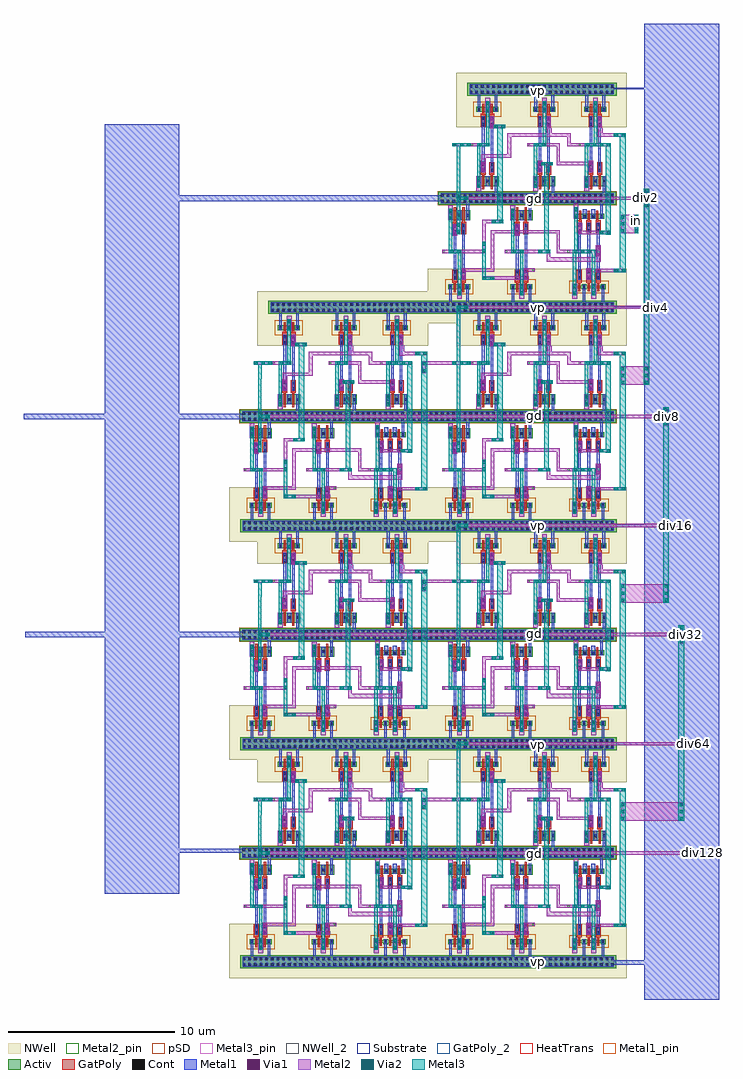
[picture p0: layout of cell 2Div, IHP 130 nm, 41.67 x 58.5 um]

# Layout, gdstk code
from math import pi, radians
import gdstk
lib = gdstk.Library(unit=1e-6, precision=1e-09)
def R(c, l, rs):  # rectangles x0, y0, x1, y1
    for r in rs: c.add(gdstk.rectangle(r[:2], r[2:], *l))
def A(c, l, x, y, w, h, nx, ny, dx, dy):  # array of equal rectangles
    R(c, l, [(x+i*dx, y+j*dy, x+i*dx+w, y+j*dy+h) for i in range(nx) for j in range(ny)])
Activ = (1, 0)
GatPoly = (5, 0)
GatPoly_2 = (5, 2)
Cont = (6, 0)
Metal1 = (8, 0)
Metal1_pin = (8, 2)
Metal2 = (10, 0)
Metal2_pin = (10, 2)
pSD = (14, 0)
Via1 = (19, 0)
Via2 = (29, 0)
Metal3 = (30, 0)
Metal3_pin = (30, 2)
NWell = (31, 0)
NWell_2 = (31, 2)
Substrate = (40, 0)
HeatTrans = (51, 0)

ptap1 = lib.new_cell('ptap1')
R(ptap1, Activ, [(0,0,0.78,0.78)])
R(ptap1, Cont, [(0.14,0.14,0.3,0.3), (0.48,0.14,0.64,0.3), (0.14,0.48,0.3,0.64), (0.48,0.48,0.64,0.64)])
R(ptap1, Metal1, [(0.14,0.09,0.64,0.69), (0.14,0.14,0.64,0.64)])
R(ptap1, Metal1_pin, [(0.14,0.14,0.64,0.64)])
R(ptap1, pSD, [(-0.03,-0.03,0.81,0.81)])
R(ptap1, Substrate, [(0,0,0.78,0.78)])
ptap1.add(gdstk.Label('sub!', (0.39,0.01), layer=63, texttype=0))
ptap1.add(gdstk.Label('sub!', (0.39,0.01), layer=40, texttype=0))

via_16 = lib.new_cell('Via$16')
R(via_16, Metal1, [(-0.105,-0.35,0.105,0.35)])
R(via_16, Metal2, [(-0.1,-0.35,0.1,0.35)])
R(via_16, Via1, [(-0.095,-0.3,0.095,-0.11), (-0.095,0.11,0.095,0.3)])

via_1_2 = lib.new_cell('Via$1$2')
R(via_1_2, Metal2, [(-0.1,-0.555,0.1,0.555)])
A(via_1_2, Via2, -0.095, -0.505, 0.19, 0.19, 1, 3, 0, 0.41)
R(via_1_2, Metal3, [(-0.1,-0.555,0.1,0.555)])

nmos = lib.new_cell('nmos')
A(nmos, Activ, 0, 0, 0.3, 0.3, 4, 1, 0.51, 0)
R(nmos, Activ, [(0,0,1.83,0.3)])
A(nmos, GatPoly, 0.34, -0.18, 0.13, 0.66, 3, 1, 0.51, 0)
R(nmos, GatPoly_2, [(0.34,-0.18,0.47,0.48)])
A(nmos, Cont, 0.07, 0.07, 0.16, 0.16, 4, 1, 0.51, 0)
A(nmos, Metal1, 0.07, 0, 0.16, 0.3, 4, 1, 0.51, 0)
R(nmos, Metal1_pin, [(0.07,0,0.23,0.3), (0.58,0,0.74,0.3)])
A(nmos, HeatTrans, 0.34, -0.18, 0.13, 0.66, 3, 1, 0.51, 0)
nmos.add(gdstk.Label('nmos', (0.405,0.15), layer=63, texttype=0))
nmos.add(gdstk.Label('nmos', (0.405,0.15), layer=51, texttype=0))
nmos.add(gdstk.Label('nmos', (0.915,0.15), layer=51, texttype=0))
nmos.add(gdstk.Label('nmos', (1.425,0.15), layer=51, texttype=0))

ntap1_8 = lib.new_cell('ntap1$8')
R(ntap1_8, Activ, [(0,0,3.5,0.78)])
A(ntap1_8, Cont, 0.14, 0.14, 0.16, 0.16, 10, 2, 0.34, 0.34)
R(ntap1_8, Metal1, [(0.14,0.09,3.36,0.69)])
R(ntap1_8, Metal1_pin, [(0.14,0.09,3.36,0.69), (0.14,0.14,3.36,0.64)])
R(ntap1_8, NWell, [(-0.24,-0.24,3.74,1.02), (0,0,3.5,0.78)])
R(ntap1_8, NWell_2, [(0,0,3.5,0.78)])
ntap1_8.add(gdstk.Label('well', (1.75,0.01), layer=63, texttype=0))
ntap1_8.add(gdstk.Label('well', (1.75,0.01), layer=31, texttype=0))

ptap1_7 = lib.new_cell('ptap1$7')
R(ptap1_7, Activ, [(0,0,3.5,0.78)])
A(ptap1_7, Cont, 0.14, 0.14, 0.16, 0.16, 10, 2, 0.34, 0.34)
R(ptap1_7, Metal1, [(0.14,0.09,3.36,0.69), (0.14,0.14,3.36,0.64)])
R(ptap1_7, Metal1_pin, [(0.14,0.14,3.36,0.64)])
R(ptap1_7, pSD, [(-0.03,-0.03,3.53,0.81)])
R(ptap1_7, Substrate, [(0,0,3.5,0.78)])
ptap1_7.add(gdstk.Label('sub!', (1.75,0.01), layer=63, texttype=0))
ptap1_7.add(gdstk.Label('sub!', (1.75,0.01), layer=40, texttype=0))

via_2_2 = lib.new_cell('Via$2$2')
R(via_2_2, Metal2, [(-0.1,-0.35,0.1,0.35)])
R(via_2_2, Via2, [(-0.095,-0.3,0.095,-0.11), (-0.095,0.11,0.095,0.3)])
R(via_2_2, Metal3, [(-0.1,-0.35,0.1,0.35)])

via_3_1 = lib.new_cell('Via$3$1')
R(via_3_1, GatPoly, [(-0.32,-0.15,0.32,0.15)])
R(via_3_1, Cont, [(-0.25,-0.08,-0.09,0.08), (0.09,-0.08,0.25,0.08)])
R(via_3_1, Metal1, [(-0.3,-0.08,0.3,0.08)])

pmos = lib.new_cell('pmos')
A(pmos, Activ, 0, 0, 0.3, 0.3, 4, 1, 0.57, 0)
R(pmos, Activ, [(0,0.075,2.01,0.225)])
A(pmos, GatPoly, 0.37, -0.105, 0.13, 0.51, 3, 1, 0.57, 0)
R(pmos, GatPoly, [(0.37,-0.105,0.5,0.405)])
A(pmos, Cont, 0.07, 0.07, 0.16, 0.16, 4, 1, 0.57, 0)
A(pmos, Metal1, 0.64, 0.02, 0.16, 0.26, 3, 1, 0.57, 0)
R(pmos, Metal1, [(0.07,0.02,0.23,0.28), (0.07,0.02,0.23,0.28), (0.64,0.02,0.8,0.28)])
R(pmos, pSD, [(-0.18,-0.225,2.19,0.525)])
R(pmos, NWell, [(-0.31,-0.31,2.32,0.61)])
R(pmos, Substrate, [(1.71,0,2.01,0.3)])
A(pmos, HeatTrans, 0.37, -0.105, 0.13, 0.51, 3, 1, 0.57, 0)
pmos.add(gdstk.Label('pmos', (0.435,0.15), layer=63, texttype=0))
pmos.add(gdstk.Label('pmos', (0.435,0.15), layer=51, texttype=0))
pmos.add(gdstk.Label('pmos', (1.005,0.15), layer=51, texttype=0))
pmos.add(gdstk.Label('pmos', (1.575,0.15), layer=51, texttype=0))

nand_3in = lib.new_cell('NAND_3in')
R(nand_3in, GatPoly, [(0.115,-3.025,0.245,-2.915), (0.685,-3.025,0.815,-2.915), (0.035,-3.005,0.335,-2.895), (0.605,-3.005,0.905,-2.895), (1.165,-3.005,1.465,-2.895), (0.03,0.58,0.33,0.73), (0.6,0.58,0.9,0.73), (1.16,0.58,1.46,0.73), (0.68,0.68,0.81,0.77), (1.25,0.68,1.38,0.77)])
R(nand_3in, Metal1, [(-0.095,-4.15,0.065,-3.37), (0.375,-3.675,0.615,-3.415), (0.885,-3.675,1.125,-3.415), (0.375,-3.435,0.615,-3.095), (0.885,-3.435,1.125,-3.095), (0.67,-2.44,0.835,-2.09), (0.1,-2.42,0.265,-1.91), (0.67,-2.21,0.83,-1.27), (1.23,-2.21,1.39,-1.27), (0.1,-1.91,0.26,-0.56), (0.67,-1.31,0.83,-0.37), (1.23,-1.31,1.39,-0.37), (0.1,-0.62,0.26,-0.04), (1.23,-0.53,1.39,0), (0.67,-0.37,0.83,-0.11), (0.95,1,1.11,1.2), (-0.19,1.01,-0.03,1.15), (-0.19,1.115,-0.03,1.99), (0.95,1.115,1.11,1.94)])
R(nand_3in, Metal1_pin, [(0.44,-4.405,0.57,-4.275), (0.74,2.15,0.87,2.28)])
R(nand_3in, Metal2, [(1.375,-3.995,1.665,-3.795), (1.375,-3.795,1.665,-3.095), (1.155,-2.875,1.455,-2.175), (0.03,-1.51,0.33,-0.81), (1.62,-1.24,2.05,-1.04), (0.59,-0.14,0.89,0.56), (0.31,0.78,0.6,0.98), (1.45,0.78,1.74,0.98), (0.31,0.98,0.6,1.68), (1.45,0.98,1.74,1.68)])
R(nand_3in, Metal2_pin, [(1.255,-2.385,1.385,-2.255), (0.11,-1.215,0.24,-1.085), (1.905,-1.205,2.035,-1.075), (0.69,-0.07,0.82,0.06)])
R(nand_3in, Metal3, [(1.425,-3.105,1.625,-2.905), (1.425,-2.905,1.625,-2.5), (1.425,-2.5,1.625,-1.15), (0.36,-1.24,0.56,-0.97), (0.38,-1.24,0.565,-1.04), (1.66,-1.24,1.7,-1.09), (1.5,-1.09,1.7,0.17), (0.36,-0.97,0.56,0.26), (1.5,-0.03,1.7,0.62), (0.36,0.08,0.56,0.78), (1.5,0.62,1.7,0.72), (1.5,0.71,1.7,0.87)])
R(nand_3in, NWell, [(-1.52,-0.1,-0.85,3.17), (-0.85,-0.1,2.93,3.17)])
nand_3in.add(gdstk.Reference(via_16, (1.525,-3.445), rotation=pi))
nand_3in.add(gdstk.Reference(via_16, (1.315,-2.525), rotation=pi))
nand_3in.add(gdstk.Reference(via_16, (0.18,-1.16), rotation=pi))
nand_3in.add(gdstk.Reference(via_16, (0.75,0.21), rotation=pi))
nand_3in.add(gdstk.Reference(via_16, (0.46,1.13), rotation=pi))
nand_3in.add(gdstk.Reference(via_16, (1.6,1.13), rotation=pi))
nand_3in.add(gdstk.Reference(via_1_2, (1.12,-1.14), rotation=3*pi/2))
nand_3in.add(gdstk.Reference(nmos, (1.665,-3.095), rotation=pi))
nand_3in.add(gdstk.Reference(ntap1_8, (-0.9,1.81)))
nand_3in.add(gdstk.Reference(ptap1_7, (-0.89,-4.73)))
nand_3in.add(gdstk.Reference(via_2_2, (1.525,-3.445), rotation=pi))
nand_3in.add(gdstk.Reference(via_2_2, (0.46,1.13), rotation=pi))
nand_3in.add(gdstk.Reference(via_2_2, (1.6,1.13), rotation=pi))
nand_3in.add(gdstk.Reference(via_3_1, (0.185,-2.575), rotation=3*pi/2))
nand_3in.add(gdstk.Reference(via_3_1, (0.755,-2.575), rotation=3*pi/2))
nand_3in.add(gdstk.Reference(via_3_1, (1.315,-2.575), rotation=3*pi/2))
nand_3in.add(gdstk.Reference(via_3_1, (0.18,0.26), rotation=3*pi/2))
nand_3in.add(gdstk.Reference(via_3_1, (0.75,0.26), rotation=3*pi/2))
nand_3in.add(gdstk.Reference(via_3_1, (1.31,0.26), rotation=3*pi/2))
nand_3in.add(gdstk.Reference(pmos, (1.75,1.13), rotation=pi))
nand_3in.add(gdstk.Label('VP', (0.8,2.21), layer=8, texttype=25))
nand_3in.add(gdstk.Label('GND', (0.505,-4.335), layer=8, texttype=25))
nand_3in.add(gdstk.Label('y', (1.97,-1.14), layer=10, texttype=25))
nand_3in.add(gdstk.Label('b', (0.76,0.02), layer=10, texttype=25))
nand_3in.add(gdstk.Label('c', (0.17,-1.15), layer=10, texttype=25))
nand_3in.add(gdstk.Label('a', (1.315,-2.325), layer=10, texttype=25))

ntap1_7_1 = lib.new_cell('ntap1$7$1')
R(ntap1_7_1, Activ, [(0,0,2.5,0.78)])
A(ntap1_7_1, Cont, 0.15, 0.14, 0.16, 0.16, 7, 2, 0.34, 0.34)
R(ntap1_7_1, Metal1, [(0.15,0.09,2.35,0.69)])
R(ntap1_7_1, Metal1_pin, [(0.15,0.09,2.35,0.69), (0.15,0.14,2.35,0.64)])
R(ntap1_7_1, NWell, [(-0.24,-0.24,2.74,1.02), (0,0,2.5,0.78)])
R(ntap1_7_1, NWell_2, [(0,0,2.5,0.78)])
ntap1_7_1.add(gdstk.Label('well', (1.25,0.01), layer=63, texttype=0))
ntap1_7_1.add(gdstk.Label('well', (1.25,0.01), layer=31, texttype=0))

ptap1_4 = lib.new_cell('ptap1$4')
R(ptap1_4, Activ, [(0,0,2.5,0.78)])
A(ptap1_4, Cont, 0.15, 0.14, 0.16, 0.16, 7, 2, 0.34, 0.34)
R(ptap1_4, Metal1, [(0.15,0.09,2.35,0.69), (0.15,0.14,2.35,0.64)])
R(ptap1_4, Metal1_pin, [(0.15,0.14,2.35,0.64)])
R(ptap1_4, pSD, [(-0.03,-0.03,2.53,0.81)])
R(ptap1_4, Substrate, [(0,0,2.5,0.78)])
ptap1_4.add(gdstk.Label('sub!', (1.25,0.01), layer=63, texttype=0))
ptap1_4.add(gdstk.Label('sub!', (1.25,0.01), layer=40, texttype=0))

via_15 = lib.new_cell('Via$15')
R(via_15, Metal2, [(-0.1,-0.35,0.1,0.35)])
R(via_15, Via2, [(-0.095,-0.3,0.095,-0.11), (-0.095,0.11,0.095,0.3)])
R(via_15, Metal3, [(-0.1,-0.35,0.1,0.35)])

via_1_1 = lib.new_cell('Via$1$1')
R(via_1_1, Metal1, [(-0.105,-0.35,0.105,0.35)])
R(via_1_1, Metal2, [(-0.1,-0.35,0.1,0.35)])
R(via_1_1, Via1, [(-0.095,-0.3,0.095,-0.11), (-0.095,0.11,0.095,0.3)])

via_2_1 = lib.new_cell('Via$2$1')
R(via_2_1, GatPoly, [(-0.32,-0.15,0.32,0.15)])
R(via_2_1, Cont, [(-0.25,-0.08,-0.09,0.08), (0.09,-0.08,0.25,0.08)])
R(via_2_1, Metal1, [(-0.3,-0.08,0.3,0.08)])

pmos_2 = lib.new_cell('pmos$2')
A(pmos_2, Activ, 0, 0, 0.3, 0.3, 3, 1, 0.51, 0)
R(pmos_2, Activ, [(0,0,1.32,0.3)])
R(pmos_2, GatPoly, [(0.34,-0.18,0.47,0.48), (0.34,-0.18,0.47,0.48), (0.85,-0.18,0.98,0.48)])
A(pmos_2, Cont, 0.07, 0.07, 0.16, 0.16, 3, 1, 0.51, 0)
R(pmos_2, Metal1, [(0.07,0,0.23,0.3), (0.07,0,0.23,0.3), (0.58,0,0.74,0.3), (0.58,0,0.74,0.3), (1.09,0,1.25,0.3)])
R(pmos_2, pSD, [(-0.18,-0.3,1.5,0.6)])
R(pmos_2, NWell, [(-0.31,-0.31,1.63,0.61)])
R(pmos_2, Substrate, [(1.02,0,1.32,0.3)])
R(pmos_2, HeatTrans, [(0.34,-0.18,0.47,0.48), (0.85,-0.18,0.98,0.48)])
pmos_2.add(gdstk.Label('pmos', (0.405,0.15), layer=63, texttype=0))
pmos_2.add(gdstk.Label('pmos', (0.405,0.15), layer=51, texttype=0))
pmos_2.add(gdstk.Label('pmos', (0.915,0.15), layer=51, texttype=0))

nmos_2 = lib.new_cell('nmos$2')
A(nmos_2, Activ, 0, 0, 0.3, 0.3, 3, 1, 0.51, 0)
R(nmos_2, Activ, [(0,0,1.32,0.6)])
R(nmos_2, GatPoly, [(0.34,-0.18,0.47,0.78), (0.85,-0.18,0.98,0.78)])
R(nmos_2, GatPoly_2, [(0.34,-0.18,0.47,0.78)])
A(nmos_2, Cont, 0.07, 0.22, 0.16, 0.16, 3, 1, 0.51, 0)
A(nmos_2, Metal1, 0.07, 0, 0.16, 0.6, 3, 1, 0.51, 0)
R(nmos_2, Metal1_pin, [(0.07,0,0.23,0.6), (0.58,0,0.74,0.6)])
R(nmos_2, HeatTrans, [(0.34,-0.18,0.47,0.78), (0.85,-0.18,0.98,0.78)])
nmos_2.add(gdstk.Label('nmos', (0.405,0.3), layer=63, texttype=0))
nmos_2.add(gdstk.Label('nmos', (0.405,0.3), layer=51, texttype=0))
nmos_2.add(gdstk.Label('nmos', (0.915,0.3), layer=51, texttype=0))

nand_2in_x2 = lib.new_cell('NAND_2in_x2')
R(nand_2in_x2, GatPoly, [(0.63,-2.93,0.93,-2.82), (1.15,-2.93,1.45,-2.82), (0.645,0.58,0.945,0.73), (1.145,0.58,1.445,0.73), (0.725,0.68,0.855,0.77)])
R(nand_2in_x2, Metal1, [(0.445,-4.32,0.605,-3.295), (0.915,-3.6,1.155,-3.34), (0.915,-3.36,1.155,-3.02), (0.7,-2.68,0.86,0.26), (1.215,-2.21,1.375,-1.27), (1.215,-1.31,1.375,-0.37), (1.215,-0.37,1.375,-0.01), (0.455,1.01,0.615,1.15), (0.455,1.115,0.615,1.99), (1.475,1.115,1.635,1.94)])
R(nand_2in_x2, Metal1_pin, [(0.44,-4.32,0.57,-4.19), (0.4,2.15,0.53,2.28)])
R(nand_2in_x2, Metal2, [(1.415,-3.92,1.705,-3.72), (1.415,-3.72,1.705,-3.02), (1.15,-2.8,1.45,-2.1), (1.62,-1.24,2.05,-1.04), (0.645,-0.14,0.945,0.56), (0.88,0.78,1.17,0.98), (0.88,0.98,1.17,1.68)])
R(nand_2in_x2, Metal2_pin, [(1.24,-2.27,1.37,-2.14), (1.905,-1.205,2.035,-1.075), (0.735,-0.1,0.865,0.03)])
R(nand_2in_x2, Metal3, [(1.465,-3.03,1.665,-2.83), (1.465,-2.905,1.665,-1.045), (0.93,-1.09,1.13,0.17), (0.93,0.1,1.13,0.62), (0.93,0.62,1.13,0.72), (0.93,0.71,1.13,0.87)])
R(nand_2in_x2, NWell, [(-0.85,-0.1,2.93,3.17)])
nand_2in_x2.add(gdstk.Reference(ntap1_7_1, (-0.23,1.81)))
nand_2in_x2.add(gdstk.Reference(ptap1_4, (-0.22,-4.73)))
nand_2in_x2.add(gdstk.Reference(via_15, (1.27,-1.14), rotation=3*pi/2))
nand_2in_x2.add(gdstk.Reference(via_1_1, (1.565,-3.37), rotation=pi))
nand_2in_x2.add(gdstk.Reference(via_1_1, (1.3,-2.45), rotation=pi))
nand_2in_x2.add(gdstk.Reference(via_1_1, (0.795,0.21), rotation=pi))
nand_2in_x2.add(gdstk.Reference(via_1_1, (1.03,1.13), rotation=pi))
nand_2in_x2.add(gdstk.Reference(via_2_1, (1.3,-2.5), rotation=3*pi/2))
nand_2in_x2.add(gdstk.Reference(via_2_1, (0.795,0.26), rotation=3*pi/2))
nand_2in_x2.add(gdstk.Reference(via_2_1, (1.295,0.26), rotation=3*pi/2))
nand_2in_x2.add(gdstk.Reference(via_15, (1.565,-3.37), rotation=pi))
nand_2in_x2.add(gdstk.Reference(via_15, (1.03,1.13), rotation=pi))
nand_2in_x2.add(gdstk.Reference(pmos_2, (1.705,1.13), rotation=pi))
nand_2in_x2.add(gdstk.Reference(via_2_1, (0.78,-2.5), rotation=3*pi/2))
nand_2in_x2.add(gdstk.Reference(nmos_2, (1.695,-3.02), rotation=pi))
nand_2in_x2.add(gdstk.Label('GND', (0.505,-4.25), layer=8, texttype=25))
nand_2in_x2.add(gdstk.Label('VP', (0.46,2.21), layer=8, texttype=25))
nand_2in_x2.add(gdstk.Label('b', (0.795,-0.04), layer=10, texttype=25))
nand_2in_x2.add(gdstk.Label('a', (1.3,-2.21), layer=10, texttype=25))
nand_2in_x2.add(gdstk.Label('y', (1.97,-1.14), layer=10, texttype=25))

ntap1_3 = lib.new_cell('ntap1$3')
R(ntap1_3, Activ, [(0,0,1.8,0.78)])
A(ntap1_3, Cont, 0.14, 0.14, 0.16, 0.16, 5, 2, 0.34, 0.34)
R(ntap1_3, Metal1, [(0.14,0.09,1.66,0.69)])
R(ntap1_3, Metal1_pin, [(0.14,0.09,1.66,0.69), (0.14,0.14,1.66,0.64)])
R(ntap1_3, NWell, [(-0.24,-0.24,2.04,1.02), (0,0,1.8,0.78)])
R(ntap1_3, NWell_2, [(0,0,1.8,0.78)])
ntap1_3.add(gdstk.Label('well', (0.9,0.01), layer=63, texttype=0))
ntap1_3.add(gdstk.Label('well', (0.9,0.01), layer=31, texttype=0))

via_17 = lib.new_cell('Via$17')
R(via_17, Metal2, [(-0.35,-0.1,0.35,0.1)])
R(via_17, Via2, [(-0.3,-0.095,-0.11,0.095), (0.11,-0.095,0.3,0.095)])
R(via_17, Metal3, [(-0.35,-0.1,0.35,0.1)])

via_12 = lib.new_cell('Via$12')
R(via_12, Metal2, [(-0.555,-0.1,0.555,0.1)])
A(via_12, Via2, -0.505, -0.095, 0.19, 0.19, 3, 1, 0.41, 0)
R(via_12, Metal3, [(-0.555,-0.1,0.555,0.1)])

via_8 = lib.new_cell('Via$8')
R(via_8, Metal2, [(-0.1,-0.35,0.1,0.35)])
R(via_8, Via2, [(-0.095,-0.3,0.095,-0.11), (-0.095,0.11,0.095,0.3)])
R(via_8, Metal3, [(-0.1,-0.35,0.1,0.35)])

via_13 = lib.new_cell('Via$13')
R(via_13, Metal2, [(-0.76,-0.1,0.76,0.1)])
A(via_13, Via2, -0.71, -0.095, 0.19, 0.19, 4, 1, 0.41, 0)
R(via_13, Metal3, [(-0.76,-0.1,0.76,0.1)])

ntap1_9 = lib.new_cell('ntap1$9')
R(ntap1_9, Activ, [(0,0,2.1,0.78)])
A(ntap1_9, Cont, 0.12, 0.14, 0.16, 0.16, 6, 2, 0.34, 0.34)
R(ntap1_9, Metal1, [(0.12,0.09,1.98,0.69)])
R(ntap1_9, Metal1_pin, [(0.12,0.09,1.98,0.69), (0.12,0.14,1.98,0.64)])
R(ntap1_9, NWell, [(-0.24,-0.24,2.34,1.02), (0,0,2.1,0.78)])
R(ntap1_9, NWell_2, [(0,0,2.1,0.78)])
ntap1_9.add(gdstk.Label('well', (1.05,0.01), layer=63, texttype=0))
ntap1_9.add(gdstk.Label('well', (1.05,0.01), layer=31, texttype=0))

d_flip_flop = lib.new_cell('d_flip_flop')
R(d_flip_flop, Metal1_pin, [(5.305,-5.04,5.435,-4.91), (4.995,1.37,5.125,1.5), (4.785,7.96,4.915,8.09)])
R(d_flip_flop, Metal2, [(-0.15,-2.95,1.29,-2.75), (1.29,-2.95,1.96,-2.75), (5.3,-2.91,5.88,-2.71), (7.74,-2.91,9.52,-2.71), (7.74,-2.81,7.94,-2.31), (1.34,-2.31,1.6,-2.04), (1.36,-2.31,4.58,-2.04), (7.74,-2.31,7.94,-1.39), (4.38,-2.13,4.585,-1.73), (3.36,-1.81,3.94,-1.61), (3.79,-1.81,3.99,-1.39), (4.38,-1.81,4.67,-1.61), (4.67,-1.81,6.02,-1.61), (8.24,-1.81,8.44,-0.89), (8.27,-1.81,9.71,-1.61), (3.79,-1.39,3.99,-0.43), (7.74,-1.39,7.94,-0.49), (8.24,-0.89,8.44,0.19), (1.38,-0.67,2.58,-0.47), (3.79,-0.62,4.07,-0.42), (4.07,-0.62,4.65,-0.42), (4.65,-0.62,6.26,-0.42), (6.16,-0.62,7.94,-0.42), (7.69,-0.01,8.27,0.19), (1.79,3.46,3.17,3.66), (3.17,3.46,3.99,3.66), (3.79,3.53,3.99,4.17), (8.24,3.655,8.505,4.12), (6.71,3.92,6.96,5.17), (6.71,3.92,7.72,4.12), (7.72,3.92,8.47,4.12), (3.79,4.17,3.99,4.59), (2.465,4.59,3.35,4.79), (3.79,4.59,4.61,4.79), (9.14,4.59,10.17,4.79), (3.15,4.79,3.35,5.21), (0.13,5.17,0.61,5.37), (0.61,5.17,1.48,5.37), (1.23,5.17,1.53,5.19), (3.15,5.17,3.67,5.37), (3.67,5.17,4.54,5.37), (4.22,5.17,6.21,5.37), (6.21,5.17,6.96,5.37), (1.23,5.19,1.53,5.69), (4.29,5.29,4.59,5.69)])
R(d_flip_flop, Metal2_pin, [(5.325,-2.88,5.455,-2.75), (10.695,-1.775,10.825,-1.645), (10.075,4.625,10.205,4.755)])
R(d_flip_flop, Metal3, [(-0.15,-2.85,0.2,-2.45), (-0.15,-2.45,0.2,4.28), (4.45,-1.81,4.73,2.56), (0.73,-0.7,1.05,3.6), (9.78,-0.47,9.98,3.76), (7.205,0.09,7.54,4.77), (4.45,2.56,4.73,3.49), (0.73,3.6,1.05,4.69), (9.775,3.76,9.98,4.69), (-0.15,4.28,0.2,5.23), (7.205,4.77,7.54,5.76)])
R(d_flip_flop, Metal3_pin, [(-0.045,1.42,0.085,1.55)])
d_flip_flop.add(gdstk.Reference(nand_3in, (1.31,-2.85), x_reflection=True))
d_flip_flop.add(gdstk.Reference(nand_2in_x2, (3.69,5.83)))
d_flip_flop.add(gdstk.Reference(nand_2in_x2, (0.63,5.83)))
d_flip_flop.add(gdstk.Reference(ntap1_3, (2.45,7.64)))
d_flip_flop.add(gdstk.Reference(ntap1_3, (5.51,7.64)))
d_flip_flop.add(gdstk.Reference(via_17, (0.2,-2.85), rotation=pi))
d_flip_flop.add(gdstk.Reference(via_17, (0.2,5.27), rotation=pi))
d_flip_flop.add(gdstk.Reference(via_12, (9.68,4.69), rotation=pi))
d_flip_flop.add(gdstk.Reference(via_8, (9.88,-0.32), rotation=pi))
d_flip_flop.add(gdstk.Reference(via_17, (1.08,-0.57), rotation=pi))
d_flip_flop.add(gdstk.Reference(via_13, (1.49,4.69), rotation=pi))
d_flip_flop.add(gdstk.Reference(via_17, (7.54,0.09), rotation=pi))
d_flip_flop.add(gdstk.Reference(via_17, (7.41,5.79), rotation=pi))
d_flip_flop.add(gdstk.Reference(via_17, (4.73,-1.71), rotation=pi))
d_flip_flop.add(gdstk.Reference(via_17, (4.56,3.55), rotation=pi))
d_flip_flop.add(gdstk.Reference(ntap1_3, (3.47,-5.44)))
d_flip_flop.add(gdstk.Reference(ntap1_9, (6.89,-5.44)))
d_flip_flop.add(gdstk.Reference(nand_2in_x2, (7.09,5.83)))
d_flip_flop.add(gdstk.Reference(nand_2in_x2, (5.05,-2.85), x_reflection=True))
d_flip_flop.add(gdstk.Reference(nand_2in_x2, (8.79,-2.85), x_reflection=True))
d_flip_flop.add(gdstk.Label('VP', (5.37,-4.98), layer=8, texttype=25))
d_flip_flop.add(gdstk.Label('VP', (4.85,7.56), layer=8, texttype=25))
d_flip_flop.add(gdstk.Label('GND', (5.06,1.43), layer=8, texttype=25))
d_flip_flop.add(gdstk.Label('q', (10.14,4.69), layer=10, texttype=25))
d_flip_flop.add(gdstk.Label('d', (5.39,-2.81), layer=10, texttype=25))
d_flip_flop.add(gdstk.Label('q_', (10.76,-1.71), layer=10, texttype=25))
d_flip_flop.add(gdstk.Label('clk', (0.02,1.48), layer=30, texttype=25))

via_39 = lib.new_cell('Via$39')
R(via_39, Metal2, [(-0.1,-0.35,0.1,0.35)])
R(via_39, Via2, [(-0.095,-0.3,0.095,-0.11), (-0.095,0.11,0.095,0.3)])
R(via_39, Metal3, [(-0.1,-0.35,0.1,0.35)])

via_40 = lib.new_cell('Via$40')
R(via_40, Metal2, [(-0.1,-0.555,0.1,0.555)])
A(via_40, Via2, -0.095, -0.505, 0.19, 0.19, 1, 3, 0, 0.41)
R(via_40, Metal3, [(-0.1,-0.555,0.1,0.555)])

via = lib.new_cell('Via')
R(via, Metal2, [(-0.35,-0.1,0.35,0.1)])
R(via, Via2, [(-0.3,-0.095,-0.11,0.095), (0.11,-0.095,0.3,0.095)])
R(via, Metal3, [(-0.35,-0.1,0.35,0.1)])

ntap1 = lib.new_cell('ntap1')
R(ntap1, Activ, [(0,0,7.8,0.78)])
A(ntap1, Cont, 0.08, 0.14, 0.16, 0.16, 23, 2, 0.34, 0.34)
R(ntap1, Metal1, [(0.08,0.09,7.72,0.69)])
R(ntap1, Metal1_pin, [(0.08,0.09,7.72,0.69), (0.08,0.14,7.72,0.64)])
R(ntap1, NWell, [(-0.24,-0.24,8.04,1.02), (0,0,7.8,0.78)])
R(ntap1, NWell_2, [(0,0,7.8,0.78)])
ntap1.add(gdstk.Label('well', (3.9,0.01), layer=63, texttype=0))
ntap1.add(gdstk.Label('well', (3.9,0.01), layer=31, texttype=0))

c_2div = lib.new_cell('2Div')
R(c_2div, Metal1, [(-66.5,-10.38,-62,48.12), (-70.42,-8.3,-66.36,-8.04), (-98.83,-4.03,-94.37,42.07), (-98.79,-1.59,-87.77,-1.34), (-70.42,4.86,-65.72,5.04), (-103.6,11.32,-87.77,11.66), (-69.74,17.94,-65.06,18.12), (-103.67,24.4,-87.43,24.74), (-69.4,31.11,-64.09,31.2), (-97.05,37.48,-77.31,37.82), (-69.32,44.19,-63.24,44.28)])
R(c_2div, Metal1_pin, [(-72.89,-8.14,-72.79,-8.04), (-73.1,-1.69,-73,-1.59), (-72.89,4.84,-72.79,4.94), (-73.1,11.48,-73,11.58), (-72.89,17.98,-72.79,18.08), (-73.1,24.57,-73,24.67), (-72.89,31.02,-72.79,31.12), (-73.1,37.58,-73,37.68), (-72.89,44.08,-72.79,44.18)])
A(c_2div, Metal2, -88.09, -6.49, 2.79, 0.21, 1, 3, 0, 13.08)
A(c_2div, Metal2, -76.19, -6.49, 2.79, 0.21, 1, 4, 0, 13.08)
A(c_2div, Metal2, -89.55, -1.69, 12.14, 0.2, 1, 3, 0, 13.08)
A(c_2div, Metal2, -77.73, -1.69, 1.81, 0.2, 1, 7, 0, 6.54)
A(c_2div, Metal2, -75.97, -1.69, 3.51, 0.2, 1, 7, 0, 6.54)
A(c_2div, Metal2, -72.46, -1.69, 5.12, 0.2, 1, 7, 0, 6.54)
A(c_2div, Metal2, -67.48, -1.69, 1.16, 0.2, 1, 7, 0, 6.54)
A(c_2div, Metal2, -79.78, 1.51, 1.795, 0.2, 1, 3, 0, 13.08)
R(c_2div, Metal2, [(-66.32,-1.69,-62.86,-1.49), (-67.87,0.335,-64.1,1.445), (-81.18,2.04,-80.88,2.62), (-66.43,4.85,-64.495,5.05), (-64.495,4.85,-63.4,5.05), (-66.45,11.39,-63.9,11.59), (-67.87,13.41,-66.26,14.52), (-66.41,13.41,-65.07,14.52), (-66.43,17.93,-64.495,18.13), (-66.35,24.47,-65.09,24.67), (-67.87,26.47,-66.26,27.58), (-81.18,28.2,-80.88,28.82), (-66.39,31.01,-65.74,31.21), (-67.87,35.56,-66.85,36.67)])
R(c_2div, Metal2_pin, [(-63.04,-1.66,-62.9,-1.52), (-63.61,4.87,-63.47,5.01), (-64.09,11.41,-63.95,11.55), (-64.69,17.95,-64.55,18.09), (-65.24,24.5,-65.1,24.64), (-65.89,31.04,-65.75,31.18), (-66.47,37.59,-66.33,37.73)])
A(c_2div, Metal3, -88.09, -6.49, 0.2, 1.6, 1, 3, 0, 13.08)
A(c_2div, Metal3, -76.19, -6.49, 0.2, 1.6, 1, 4, 0, 13.08)
A(c_2div, Metal3, -77.73, 1.1, 0.2, 3.94, 1, 3, 0, 13.08)
A(c_2div, Metal3, -77.68, 1.47, 0.155, 3.58, 1, 3, 0, 13.08)
R(c_2div, Metal3, [(-64.44,0.335,-64.3,2.23), (-64.3,0.335,-64.1,2.23), (-64.44,2.08,-64.1,12.05), (-64.44,2.23,-64.1,2.6), (-64.44,2.23,-64.1,2.6), (-65.35,13.41,-65.01,25.13), (-66.53,26.47,-66.19,38.21), (-66.53,36.3,-66.19,36.67), (-66.53,36.3,-66.19,36.67), (-66.53,36.53,-66.19,38.21)])
R(c_2div, Metal3_pin, [(-67,36.27,-66.89,36.4)])
c_2div.add(gdstk.Reference(ptap1, (-79.73,-1.98), rotation=pi, x_reflection=True))
c_2div.add(gdstk.Reference(ptap1, (-79.39,-1.98), rotation=pi, x_reflection=True))
c_2div.add(gdstk.Reference(ptap1, (-79.05,-1.98), rotation=pi, x_reflection=True))
c_2div.add(gdstk.Reference(ptap1, (-78.71,-1.98), rotation=pi, x_reflection=True))
c_2div.add(gdstk.Reference(ptap1, (-78.37,-1.98), rotation=pi, x_reflection=True))
c_2div.add(gdstk.Reference(d_flip_flop, (-67.75,10), rotation=pi, x_reflection=True))
c_2div.add(gdstk.Reference(ptap1, (-79.73,11.1), rotation=pi, x_reflection=True))
c_2div.add(gdstk.Reference(ptap1, (-79.73,24.18), rotation=pi, x_reflection=True))
c_2div.add(gdstk.Reference(ptap1, (-79.39,24.18), rotation=pi, x_reflection=True))
c_2div.add(gdstk.Reference(ptap1, (-79.05,24.18), rotation=pi, x_reflection=True))
c_2div.add(gdstk.Reference(ptap1, (-78.71,24.18), rotation=pi, x_reflection=True))
c_2div.add(gdstk.Reference(ptap1, (-78.37,24.18), rotation=pi, x_reflection=True))
c_2div.add(gdstk.Reference(d_flip_flop, (-67.75,-3.08), rotation=pi, x_reflection=True))
c_2div.add(gdstk.Reference(via_39, (-76.09,34.7), rotation=pi, x_reflection=True))
c_2div.add(gdstk.Reference(via_39, (-75.84,32.85), rotation=3*pi/2, x_reflection=True))
c_2div.add(gdstk.Reference(ptap1, (-79.39,11.1), rotation=pi, x_reflection=True))
c_2div.add(gdstk.Reference(ptap1, (-79.05,11.1), rotation=pi, x_reflection=True))
c_2div.add(gdstk.Reference(ptap1, (-78.71,11.1), rotation=pi, x_reflection=True))
c_2div.add(gdstk.Reference(ptap1, (-78.37,11.1), rotation=pi, x_reflection=True))
c_2div.add(gdstk.Reference(via_39, (-76.09,21.62), rotation=pi, x_reflection=True))
c_2div.add(gdstk.Reference(via_39, (-75.84,19.77), rotation=3*pi/2, x_reflection=True))
c_2div.add(gdstk.Reference(via_39, (-76.09,8.54), rotation=pi, x_reflection=True))
c_2div.add(gdstk.Reference(via_39, (-75.84,6.69), rotation=3*pi/2, x_reflection=True))
c_2div.add(gdstk.Reference(via_39, (-76.09,-4.54), rotation=pi, x_reflection=True))
c_2div.add(gdstk.Reference(via_39, (-75.84,-6.39), rotation=3*pi/2, x_reflection=True))
c_2div.add(gdstk.Reference(via_39, (-87.99,21.62), rotation=pi, x_reflection=True))
c_2div.add(gdstk.Reference(via_39, (-87.74,19.77), rotation=3*pi/2, x_reflection=True))
c_2div.add(gdstk.Reference(via_39, (-87.99,8.54), rotation=pi, x_reflection=True))
c_2div.add(gdstk.Reference(via_39, (-87.74,6.69), rotation=3*pi/2, x_reflection=True))
c_2div.add(gdstk.Reference(via_39, (-87.99,-4.54), rotation=pi, x_reflection=True))
c_2div.add(gdstk.Reference(via_39, (-87.74,-6.39), rotation=3*pi/2, x_reflection=True))
c_2div.add(gdstk.Reference(via_39, (-79.68,27.52), rotation=pi, x_reflection=True))
c_2div.add(gdstk.Reference(via_39, (-79.68,14.44), rotation=pi, x_reflection=True))
c_2div.add(gdstk.Reference(via_39, (-79.68,1.36), rotation=pi, x_reflection=True))
c_2div.add(gdstk.Reference(via_40, (-66.95,36.115)))
c_2div.add(gdstk.Reference(via_40, (-67.77,36.115)))
c_2div.add(gdstk.Reference(via, (-77.38,37.65)))
c_2div.add(gdstk.Reference(via_40, (-66.36,37.655)))
c_2div.add(gdstk.Reference(via_40, (-66.36,27.025)))
c_2div.add(gdstk.Reference(via_40, (-67.77,27.025)))
c_2div.add(gdstk.Reference(via, (-89.28,24.57)))
c_2div.add(gdstk.Reference(via, (-89.28,11.49)))
c_2div.add(gdstk.Reference(via, (-89.28,-1.59)))
c_2div.add(gdstk.Reference(via, (-77.38,31.11)))
c_2div.add(gdstk.Reference(via, (-77.38,18.03)))
c_2div.add(gdstk.Reference(via_40, (-65.19,24.575)))
c_2div.add(gdstk.Reference(via_40, (-65.17,13.975)))
c_2div.add(gdstk.Reference(via_40, (-67.77,13.97)))
c_2div.add(gdstk.Reference(via_40, (-64.27,11.495)))
c_2div.add(gdstk.Reference(via, (-77.38,4.955)))
c_2div.add(gdstk.Reference(via_40, (-64.27,0.89)))
c_2div.add(gdstk.Reference(via_40, (-67.77,0.89)))
c_2div.add(gdstk.Reference(d_flip_flop, (-67.75,23.08), rotation=pi, x_reflection=True))
c_2div.add(gdstk.Reference(ntap1, (-80.44,-8.52)))
c_2div.add(gdstk.Reference(d_flip_flop, (-79.65,-3.08), rotation=pi, x_reflection=True))
c_2div.add(gdstk.Reference(ntap1, (-80.44,4.56)))
c_2div.add(gdstk.Reference(ntap1, (-80.44,17.64)))
c_2div.add(gdstk.Reference(ntap1, (-80.44,30.72)))
c_2div.add(gdstk.Reference(d_flip_flop, (-67.75,36.16), rotation=pi, x_reflection=True))
c_2div.add(gdstk.Reference(d_flip_flop, (-79.65,10), rotation=pi, x_reflection=True))
c_2div.add(gdstk.Reference(d_flip_flop, (-79.65,23.08), rotation=pi, x_reflection=True))
c_2div.add(gdstk.Label('vp', (-72.84,44.13), layer=8, texttype=2))
c_2div.add(gdstk.Label('vp', (-72.84,31.07), layer=8, texttype=2))
c_2div.add(gdstk.Label('vp', (-72.84,18.03), layer=8, texttype=2))
c_2div.add(gdstk.Label('vp', (-72.84,4.89), layer=8, texttype=2))
c_2div.add(gdstk.Label('vp', (-72.84,-8.09), layer=8, texttype=2))
c_2div.add(gdstk.Label('gd', (-73.05,37.63), layer=8, texttype=2))
c_2div.add(gdstk.Label('gd', (-73.05,24.62), layer=8, texttype=2))
c_2div.add(gdstk.Label('gd', (-73.05,11.53), layer=8, texttype=2))
c_2div.add(gdstk.Label('gd', (-73.05,-1.64), layer=8, texttype=2))
c_2div.add(gdstk.Label('div128', (-62.979,-1.579), layer=10, texttype=2))
c_2div.add(gdstk.Label('div64', (-63.549,4.95), layer=10, texttype=2))
c_2div.add(gdstk.Label('div32', (-64.029,11.49), layer=10, texttype=2))
c_2div.add(gdstk.Label('div16', (-64.629,18.03), layer=10, texttype=2))
c_2div.add(gdstk.Label('div8', (-65.179,24.58), layer=10, texttype=2))
c_2div.add(gdstk.Label('div4', (-65.829,31.12), layer=10, texttype=2))
c_2div.add(gdstk.Label('div2', (-66.409,37.67), layer=10, texttype=2))
c_2div.add(gdstk.Label('in', (-66.953,36.32), layer=30, texttype=2))

lib.write_gds('2Div.gds')
